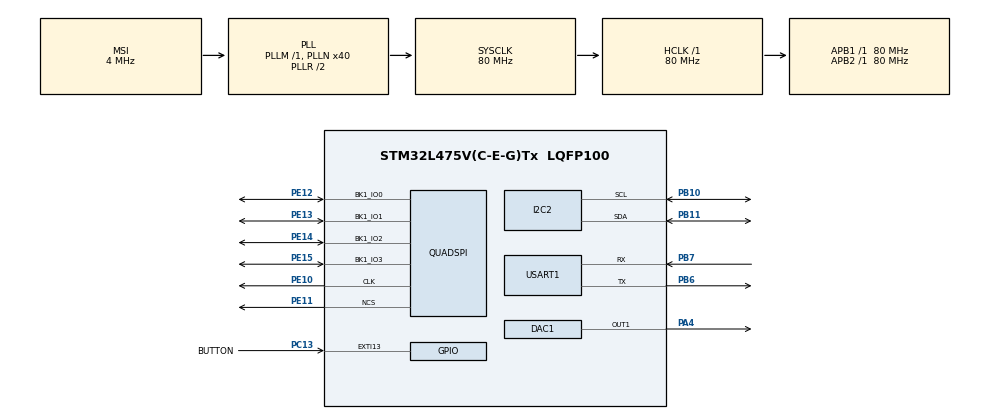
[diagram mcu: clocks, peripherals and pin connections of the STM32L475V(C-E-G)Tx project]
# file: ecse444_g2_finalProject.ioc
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DAC1.DAC_Trigger-DAC_OUT1=DAC_TRIGGER_T2_TRGO
Dma.DAC_CH1.0.Direction=DMA_MEMORY_TO_PERIPH
Dma.DAC_CH1.0.Instance=DMA1_Channel3
Dma.DAC_CH1.0.MemDataAlignment=DMA_MDATAALIGN_BYTE
Dma.DAC_CH1.0.MemInc=DMA_MINC_ENABLE
Dma.DAC_CH1.0.Mode=DMA_NORMAL
Dma.DAC_CH1.0.PeriphDataAlignment=DMA_PDATAALIGN_HALFWORD
Dma.DAC_CH1.0.PeriphInc=DMA_PINC_DISABLE
Dma.DAC_CH1.0.Priority=DMA_PRIORITY_LOW
Dma.Request0=DAC_CH1
I2C2.Timing=0x10909CEC
Mcu.Family=STM32L4
Mcu.Name=STM32L475V(C-E-G)Tx
Mcu.Package=LQFP100
NVIC.DMA1_Channel3_IRQn=true\:0\:0\:false\:false\:true\:false\:true
NVIC.EXTI15_10_IRQn=true\:0\:0\:false\:false\:true\:true\:true
NVIC.PriorityGroup=NVIC_PRIORITYGROUP_4
NVIC.TIM2_IRQn=true\:0\:0\:false\:false\:true\:true\:true
NVIC.TIM3_IRQn=true\:0\:0\:false\:false\:true\:true\:true
NVIC.TIM6_DAC_IRQn=true\:0\:0\:false\:false\:true\:false\:true
NVIC.TimeBase=TIM6_DAC_IRQn
NVIC.TimeBaseIP=TIM6
PA13\ (JTMS-SWDIO).Signal=SYS_JTMS-SWDIO
PA4.Signal=COMP_DAC11_group
PB10.Mode=I2C
PB10.Signal=I2C2_SCL
PB11.Mode=I2C
PB11.Signal=I2C2_SDA
PB3\ (JTDO-TRACESWO).Signal=SYS_JTDO-SWO
PB6.Mode=Asynchronous
PB6.Signal=USART1_TX
PB7.Mode=Asynchronous
PB7.Signal=USART1_RX
PC13.GPIO_Label=BUTTON
PC13.Signal=GPXTI13
PE10.Mode=Single Bank
PE10.Signal=QUADSPI_CLK
PE11.Mode=Single Bank
PE11.Signal=QUADSPI_NCS
PE12.Mode=Single Bank
PE12.Signal=QUADSPI_BK1_IO0
PE13.Mode=Single Bank
PE13.Signal=QUADSPI_BK1_IO1
PE14.Mode=Single Bank
PE14.Signal=QUADSPI_BK1_IO2
PE15.Mode=Single Bank
PE15.Signal=QUADSPI_BK1_IO3
ProjectManager.HeapSize=0x200
ProjectManager.StackSize=0x400
ProjectManager.TargetToolchain=STM32CubeIDE
RCC.ADCFreq_Value=48000000
RCC.AHBFreq_Value=80000000
RCC.APB1Freq_Value=80000000
RCC.APB1TimFreq_Value=80000000
RCC.APB2Freq_Value=80000000
RCC.APB2TimFreq_Value=80000000
RCC.CortexFreq_Value=80000000
RCC.HCLKFreq_Value=80000000
RCC.HSE_VALUE=8000000
RCC.HSI_VALUE=16000000
RCC.LSE_VALUE=32768
RCC.MSI_VALUE=4000000
RCC.PLLN=40
RCC.PLLSAI1N=24
RCC.SYSCLKFreq_VALUE=80000000
RCC.SYSCLKSource=RCC_SYSCLKSOURCE_PLLCLK
RCC.USBFreq_Value=48000000
RCC.VCOOutputFreq_Value=160000000
SH.COMP_DAC11_group.0=DAC1_OUT1,DAC_OUT1
TIM2.Period=4000
TIM2.TIM_MasterOutputTrigger=TIM_TRGO_UPDATE
TIM3.Period=200
TIM3.Prescaler=4000
TIM3.TIM_MasterOutputTrigger=TIM_TRGO_RESET
USART1.VirtualMode-Asynchronous=VM_ASYNC
VP_SYS_VS_tim6.Mode=TIM6
VP_TIM2_VS_ClockSourceINT.Mode=Internal
VP_TIM3_VS_ClockSourceINT.Mode=Internal
board=B-L475E-IOT01A1

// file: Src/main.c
/* USER CODE BEGIN Header */
/**
  ******************************************************************************
  * @file           : main.c
  * @brief          : Main program body
  ******************************************************************************
  * @attention
  *
  * <h2><center>&copy; Copyright (c) 2020 STMicroelectronics.
  * All rights reserved.</center></h2>
  *
  * This software component is licensed by ST under Ultimate Liberty license
  * SLA0044, the "License"; You may not use this file except in compliance with
  * the License. You may obtain a copy of the License at:
  *                             www.st.com/SLA0044
  *
  ******************************************************************************
  */
/* USER CODE END Header */
#include "main.h"

/* USER CODE BEGIN Includes */
#include <stdio.h>
#include <stdlib.h>
#include "stm32l475e_iot01_gyro.h"
#include "stm32l475e_iot01_qspi.h"
#include "arm_math.h"
/* USER CODE END Includes */

/* USER CODE BEGIN PTD */
// Typedef a position object to keep track of the obstacle more easily
struct {
	float x;
	float y;
} typedef Pos;
/* USER CODE END PTD */

/* USER CODE BEGIN PD */
#define DISPLAY_LENGTH_X 			60
#define DISPLAY_LENGTH_Y 			20

// Scale the gyro sensor angle to movement of the player
#define GYRO_TO_DISP_FACTOR 	0.01

// Player is always at the same Y position
#define PLAYER_Y							(DISPLAY_LENGTH_Y - 1)

// Player cannot go into the last column
#define PLAYER_MAX_X					DISPLAY_LENGTH_X - 2

// ASCII symbol for the player
#define PLAYER_CHAR						'^'

// The position of the obstacle is determined by an index in the 2D
// display array. Each object has a width associated to them. This
// parameter specifies how many extra indexes the object takes up
// on either side of its center. In our case, the obstacle is 11
// characters wide.
#define OBSTACLE_EXTRA_WIDTH	5

// How many indexes the obstacle will move each game loop. Could
// become a variable if we want to increase the difficulty?
#define OBSTACLE_SPEED_LOW		0.5
#define OBSTACLE_SPEED_HIGH		1.0
//#define OBSTACLE_SPEED					0.5

// ASCII symbol for the obstacle
#define OBSTACLE_CHAR					'='

// 20 kHz sampling rate
#define SAMP_FREQ							20000

// Size of tone buffer
#define TONE_BUF_LEN					(uint32_t)10000

// Different tones used for the sound effects
#define G_SIX_FREQ						1567.98
#define A_FLAT_SIX_FREQ				1661.22
#define A_SIX_FREQ						1760.00
#define B_FLAT_SIX_FREQ				1864.66
#define B_SIX_FREQ						1975.53

// Length of the "game over" sound effect
#define GAME_OVER_LEN					8

// Length of the "obstacle avoided" sound effect
#define SUCCESS_LEN						2

// Parameters for sensor processing
#define LEAKY_LAMBDA					0.95
#define LEAKY_LAMBDA_COMP			0.05
#define CALIBRATION_CYCLES		200

// Approximate period of the game loop (in seconds)
#define GAME_LOOP_PERIOD			0.1

// ITM Port define
#define ITM_Port32(n)					(*((volatile unsigned long *) (0xE0000000+4*n)))
/* USER CODE END PD */

DAC_HandleTypeDef hdac1;
DMA_HandleTypeDef hdma_dac_ch1;

I2C_HandleTypeDef hi2c2;

QSPI_HandleTypeDef hqspi;

TIM_HandleTypeDef htim2;
TIM_HandleTypeDef htim3;

UART_HandleTypeDef huart1;

/* USER CODE BEGIN PV */
// The representation of the playing field for our game
// NOTE: the coordinates are [y][x], not [x][y]!
uint8_t display[DISPLAY_LENGTH_Y][DISPLAY_LENGTH_X];

// Sensor processing variables
float gyroData[3];
uint8_t leakyGyroFlag = 0;
float leakyGyro = 0.0;
float angularDisplacement = 0;
uint8_t calibrationCount = 0;
float calibrationAvg = 0.0;

// The obstacle and its speed
Pos *obstacle;
float obstacleSpeed = OBSTACLE_SPEED_LOW;

// X position of the player
// playerY is constant, so it's defined as a macro
float playerX = DISPLAY_LENGTH_X >> 1;

// Variables for the "game over" sound effect
uint8_t gameOverTone = 0;
uint8_t gameOverTones[GAME_OVER_LEN] = {2,4,2,1,3,1,0,0};

// Variables for the "obstacle avoided" sound effect
uint8_t successTone;
uint8_t successTones[SUCCESS_LEN] = {0,4};
uint8_t isSuccess;
/* USER CODE END PV */

void SystemClock_Config(void);
static void MX_GPIO_Init(void);
static void MX_DMA_Init(void);
static void MX_DAC1_Init(void);
static void MX_TIM2_Init(void);
static void MX_USART1_UART_Init(void);
static void MX_I2C2_Init(void);
static void MX_TIM3_Init(void);
static void MX_QUADSPI_Init(void);
/* USER CODE BEGIN PFP */
void createTone(uint8_t *arr, float32_t freq);
void gameOver();
uint8_t collision(Pos *obstacle, int8_t newX, int8_t extraWidth);
void setObstacle(Pos *o, uint8_t newChar, int8_t extraWidth);
void clearedObstacle();
/* USER CODE END PFP */

/* USER CODE BEGIN 0 */
int numOfSamples = 10000;
uint8_t sineArray[10000];
int sineWaveNumber = 0;
int nextFreq = 1; // trigger to go to next frequency
/* USER CODE END 0 */

int main(void)
{

  /* MCU Configuration--------------------------------------------------------*/

  /* Reset of all peripherals, Initializes the Flash interface and the Systick. */
  HAL_Init();

  /* Configure the system clock */
  SystemClock_Config();

  /* Initialize all configured peripherals */
  MX_GPIO_Init();
  MX_DMA_Init();
  MX_DAC1_Init();
  MX_TIM2_Init();
  MX_USART1_UART_Init();
  MX_I2C2_Init();
  MX_TIM3_Init();
  MX_QUADSPI_Init();
  /* USER CODE BEGIN 2 */
  // Initialize gyro sensor
  BSP_GYRO_Init();
  BSP_GYRO_GetXYZ(gyroData);

  // Initialize QSPI
	if (BSP_QSPI_Init()){
		Error_Handler();
	}

  // Clear serial monitor and initialize display array
  HAL_UART_Transmit(&huart1, (uint8_t *)"\033[f", 3, 100);
  HAL_UART_Transmit(&huart1, (uint8_t *)"\033[2J", 4, 100);
  uint8_t i;
  uint8_t j;
  for(i = 0; i < DISPLAY_LENGTH_Y; i++){
		for(j = 0; j < DISPLAY_LENGTH_X; j++){
			if (j == DISPLAY_LENGTH_X - 1)
				display[i][j] = '\n';
			else
				display[i][j] = ' ';
		}
	}

  // Initialize the obstacle to be out of bounds
  obstacle = (Pos *) malloc(sizeof(Pos));
  obstacle->x = -1.0;
  obstacle->y = -1.0;

	// Erase 5 blocks for sounds
	for (int i = 0; i < 2; i++)
		if (BSP_QSPI_Erase_Block(i) != QSPI_OK)
			Error_Handler();

	// Store all the tones in Flash
	uint32_t currAddr = 0;

	createTone(sineArray, G_SIX_FREQ);
	if (BSP_QSPI_Write(sineArray, currAddr, TONE_BUF_LEN) != QSPI_OK)
		Error_Handler();
	currAddr += TONE_BUF_LEN;

	createTone(sineArray, A_FLAT_SIX_FREQ);
	if (BSP_QSPI_Write(sineArray, currAddr, TONE_BUF_LEN) != QSPI_OK)
			Error_Handler();
	currAddr += TONE_BUF_LEN;

	createTone(sineArray, A_SIX_FREQ);
	if (BSP_QSPI_Write(sineArray, currAddr, TONE_BUF_LEN) != QSPI_OK)
			Error_Handler();
	currAddr += TONE_BUF_LEN;

	createTone(sineArray, B_FLAT_SIX_FREQ);
	if (BSP_QSPI_Write(sineArray, currAddr, TONE_BUF_LEN) != QSPI_OK)
			Error_Handler();
	currAddr += TONE_BUF_LEN;

	createTone(sineArray, B_SIX_FREQ);
	if (BSP_QSPI_Write(sineArray, currAddr, TONE_BUF_LEN) != QSPI_OK)
			Error_Handler();

  // Start timers
  HAL_TIM_Base_Start_IT(&htim3);
  HAL_TIM_Base_Start_IT(&htim2);
  /* USER CODE END 2 */

  /* Infinite loop */
  while (1)
  {

    /* USER CODE BEGIN 3 */
  	//*******************
  	//* GAME LOOP (~10 ms)
  	//*******************

  	// Only start the game once the system is done calibrating
  	if (calibrationCount >= CALIBRATION_CYCLES){
  		// Check for a button press to change the difficulty
  		if (!HAL_GPIO_ReadPin(BUTTON_GPIO_Port, BUTTON_Pin)){
				if (obstacleSpeed == OBSTACLE_SPEED_LOW)
					obstacleSpeed = OBSTACLE_SPEED_HIGH;
				else
					obstacleSpeed = OBSTACLE_SPEED_LOW;
			}

			// Erase current player position
			display[PLAYER_Y][(uint8_t)playerX] = ' ';

			// Calculate the new player position
			playerX += (angularDisplacement * GYRO_TO_DISP_FACTOR);
			if (playerX < 0)
				playerX = 0;
			if (playerX > PLAYER_MAX_X + 0.9)
				playerX = PLAYER_MAX_X;

			// If the obstacle is out of bounds, create a new one at the top of the screen
			if (obstacle->x < 0) {
				obstacle->x = rand() % (PLAYER_MAX_X - OBSTACLE_EXTRA_WIDTH);
				if (obstacle->x < OBSTACLE_EXTRA_WIDTH)
					obstacle->x = OBSTACLE_EXTRA_WIDTH;
				obstacle->y = 0;
			}
			else {
				// Otherwise, erase the old obstacle position and calculate the new position
				setObstacle(obstacle, (uint8_t)' ', OBSTACLE_EXTRA_WIDTH);
				obstacle->y += obstacleSpeed;

				// Check if obstacle has left the playing field
				if (obstacle->y > DISPLAY_LENGTH_Y - 0.1){
					obstacle->x = -1.0;
					obstacle->y = -1.0;
					isSuccess = 1;
					// Play a sound effect
					clearedObstacle();
				}
				// Check for collision
				else if (collision(obstacle, (int8_t)playerX, OBSTACLE_EXTRA_WIDTH)){
					isSuccess = 0;
					// Game over screen and music
					gameOver();
				}
			}

			// Update the player location
			display[PLAYER_Y][(uint8_t)playerX] = PLAYER_CHAR;

			// Update the obstacle location
			if (obstacle->x > -0.5)
				setObstacle(obstacle, OBSTACLE_CHAR, OBSTACLE_EXTRA_WIDTH);

			// Set the cursor of the serial monitor to the top left corner
			HAL_UART_Transmit(&huart1, (uint8_t *)"\033[f", 3, 100);

			// Draw the new frame of the game
			for (uint8_t i = 0; i < DISPLAY_LENGTH_Y; i++){
				HAL_UART_Transmit(&huart1, display[i], DISPLAY_LENGTH_X, 100);
			}
  	}
  }
  /* USER CODE END 3 */
}

void SystemClock_Config(void)
{
  RCC_OscInitTypeDef RCC_OscInitStruct = {0};
  RCC_ClkInitTypeDef RCC_ClkInitStruct = {0};
  RCC_PeriphCLKInitTypeDef PeriphClkInit = {0};

  /** Initializes the RCC Oscillators according to the specified parameters
  * in the RCC_OscInitTypeDef structure.
  */
  RCC_OscInitStruct.OscillatorType = RCC_OSCILLATORTYPE_MSI;
  RCC_OscInitStruct.MSIState = RCC_MSI_ON;
  RCC_OscInitStruct.MSICalibrationValue = 0;
  RCC_OscInitStruct.MSIClockRange = RCC_MSIRANGE_6;
  RCC_OscInitStruct.PLL.PLLState = RCC_PLL_ON;
  RCC_OscInitStruct.PLL.PLLSource = RCC_PLLSOURCE_MSI;
  RCC_OscInitStruct.PLL.PLLM = 1;
  RCC_OscInitStruct.PLL.PLLN = 40;
  RCC_OscInitStruct.PLL.PLLP = RCC_PLLP_DIV7;
  RCC_OscInitStruct.PLL.PLLQ = RCC_PLLQ_DIV2;
  RCC_OscInitStruct.PLL.PLLR = RCC_PLLR_DIV2;
  if (HAL_RCC_OscConfig(&RCC_OscInitStruct) != HAL_OK)
  {
    Error_Handler();
  }
  /** Initializes the CPU, AHB and APB buses clocks
  */
  RCC_ClkInitStruct.ClockType = RCC_CLOCKTYPE_HCLK|RCC_CLOCKTYPE_SYSCLK
                              |RCC_CLOCKTYPE_PCLK1|RCC_CLOCKTYPE_PCLK2;
  RCC_ClkInitStruct.SYSCLKSource = RCC_SYSCLKSOURCE_PLLCLK;
  RCC_ClkInitStruct.AHBCLKDivider = RCC_SYSCLK_DIV1;
  RCC_ClkInitStruct.APB1CLKDivider = RCC_HCLK_DIV1;
  RCC_ClkInitStruct.APB2CLKDivider = RCC_HCLK_DIV1;

  if (HAL_RCC_ClockConfig(&RCC_ClkInitStruct, FLASH_LATENCY_4) != HAL_OK)
  {
    Error_Handler();
  }
  PeriphClkInit.PeriphClockSelection = RCC_PERIPHCLK_USART1|RCC_PERIPHCLK_I2C2;
  PeriphClkInit.Usart1ClockSelection = RCC_USART1CLKSOURCE_PCLK2;
  PeriphClkInit.I2c2ClockSelection = RCC_I2C2CLKSOURCE_PCLK1;
  if (HAL_RCCEx_PeriphCLKConfig(&PeriphClkInit) != HAL_OK)
  {
    Error_Handler();
  }
  /** Configure the main internal regulator output voltage
  */
  if (HAL_PWREx_ControlVoltageScaling(PWR_REGULATOR_VOLTAGE_SCALE1) != HAL_OK)
  {
    Error_Handler();
  }
}

static void MX_DAC1_Init(void)
{

  DAC_ChannelConfTypeDef sConfig = {0};

  /** DAC Initialization
  */
  hdac1.Instance = DAC1;
  if (HAL_DAC_Init(&hdac1) != HAL_OK)
  {
    Error_Handler();
  }
  /** DAC channel OUT1 config
  */
  sConfig.DAC_SampleAndHold = DAC_SAMPLEANDHOLD_DISABLE;
  sConfig.DAC_Trigger = DAC_TRIGGER_T2_TRGO;
  sConfig.DAC_OutputBuffer = DAC_OUTPUTBUFFER_ENABLE;
  sConfig.DAC_ConnectOnChipPeripheral = DAC_CHIPCONNECT_DISABLE;
  sConfig.DAC_UserTrimming = DAC_TRIMMING_FACTORY;
  if (HAL_DAC_ConfigChannel(&hdac1, &sConfig, DAC_CHANNEL_1) != HAL_OK)
  {
    Error_Handler();
  }

}

static void MX_I2C2_Init(void)
{

  hi2c2.Instance = I2C2;
  hi2c2.Init.Timing = 0x10909CEC;
  hi2c2.Init.OwnAddress1 = 0;
  hi2c2.Init.AddressingMode = I2C_ADDRESSINGMODE_7BIT;
  hi2c2.Init.DualAddressMode = I2C_DUALADDRESS_DISABLE;
  hi2c2.Init.OwnAddress2 = 0;
  hi2c2.Init.OwnAddress2Masks = I2C_OA2_NOMASK;
  hi2c2.Init.GeneralCallMode = I2C_GENERALCALL_DISABLE;
  hi2c2.Init.NoStretchMode = I2C_NOSTRETCH_DISABLE;
  if (HAL_I2C_Init(&hi2c2) != HAL_OK)
  {
    Error_Handler();
  }
  /** Configure Analogue filter
  */
  if (HAL_I2CEx_ConfigAnalogFilter(&hi2c2, I2C_ANALOGFILTER_ENABLE) != HAL_OK)
  {
    Error_Handler();
  }
  /** Configure Digital filter
  */
  if (HAL_I2CEx_ConfigDigitalFilter(&hi2c2, 0) != HAL_OK)
  {
    Error_Handler();
  }

}

static void MX_QUADSPI_Init(void)
{

  /* QUADSPI parameter configuration*/
  hqspi.Instance = QUADSPI;
  hqspi.Init.ClockPrescaler = 255;
  hqspi.Init.FifoThreshold = 1;
  hqspi.Init.SampleShifting = QSPI_SAMPLE_SHIFTING_NONE;
  hqspi.Init.FlashSize = 1;
  hqspi.Init.ChipSelectHighTime = QSPI_CS_HIGH_TIME_1_CYCLE;
  hqspi.Init.ClockMode = QSPI_CLOCK_MODE_0;
  if (HAL_QSPI_Init(&hqspi) != HAL_OK)
  {
    Error_Handler();
  }

}

static void MX_TIM2_Init(void)
{

  TIM_ClockConfigTypeDef sClockSourceConfig = {0};
  TIM_MasterConfigTypeDef sMasterConfig = {0};

  htim2.Instance = TIM2;
  htim2.Init.Prescaler = 0;
  htim2.Init.CounterMode = TIM_COUNTERMODE_UP;
  htim2.Init.Period = 4000;
  htim2.Init.ClockDivision = TIM_CLOCKDIVISION_DIV1;
  htim2.Init.AutoReloadPreload = TIM_AUTORELOAD_PRELOAD_DISABLE;
  if (HAL_TIM_Base_Init(&htim2) != HAL_OK)
  {
    Error_Handler();
  }
  sClockSourceConfig.ClockSource = TIM_CLOCKSOURCE_INTERNAL;
  if (HAL_TIM_ConfigClockSource(&htim2, &sClockSourceConfig) != HAL_OK)
  {
    Error_Handler();
  }
  sMasterConfig.MasterOutputTrigger = TIM_TRGO_UPDATE;
  sMasterConfig.MasterSlaveMode = TIM_MASTERSLAVEMODE_DISABLE;
  if (HAL_TIMEx_MasterConfigSynchronization(&htim2, &sMasterConfig) != HAL_OK)
  {
    Error_Handler();
  }

}

static void MX_TIM3_Init(void)
{

  TIM_ClockConfigTypeDef sClockSourceConfig = {0};
  TIM_MasterConfigTypeDef sMasterConfig = {0};

  htim3.Instance = TIM3;
  htim3.Init.Prescaler = 4000;
  htim3.Init.CounterMode = TIM_COUNTERMODE_UP;
  htim3.Init.Period = 200;
  htim3.Init.ClockDivision = TIM_CLOCKDIVISION_DIV1;
  htim3.Init.AutoReloadPreload = TIM_AUTORELOAD_PRELOAD_DISABLE;
  if (HAL_TIM_Base_Init(&htim3) != HAL_OK)
  {
    Error_Handler();
  }
  sClockSourceConfig.ClockSource = TIM_CLOCKSOURCE_INTERNAL;
  if (HAL_TIM_ConfigClockSource(&htim3, &sClockSourceConfig) != HAL_OK)
  {
    Error_Handler();
  }
  sMasterConfig.MasterOutputTrigger = TIM_TRGO_RESET;
  sMasterConfig.MasterSlaveMode = TIM_MASTERSLAVEMODE_DISABLE;
  if (HAL_TIMEx_MasterConfigSynchronization(&htim3, &sMasterConfig) != HAL_OK)
  {
    Error_Handler();
  }

}

static void MX_USART1_UART_Init(void)
{

  huart1.Instance = USART1;
  huart1.Init.BaudRate = 115200;
  huart1.Init.WordLength = UART_WORDLENGTH_8B;
  huart1.Init.StopBits = UART_STOPBITS_1;
  huart1.Init.Parity = UART_PARITY_NONE;
  huart1.Init.Mode = UART_MODE_TX_RX;
  huart1.Init.HwFlowCtl = UART_HWCONTROL_NONE;
  huart1.Init.OverSampling = UART_OVERSAMPLING_16;
  huart1.Init.OneBitSampling = UART_ONE_BIT_SAMPLE_DISABLE;
  huart1.AdvancedInit.AdvFeatureInit = UART_ADVFEATURE_NO_INIT;
  if (HAL_UART_Init(&huart1) != HAL_OK)
  {
    Error_Handler();
  }

}

static void MX_DMA_Init(void)
{

  /* DMA controller clock enable */
  __HAL_RCC_DMA1_CLK_ENABLE();

  /* DMA interrupt init */
  /* DMA1_Channel3_IRQn interrupt configuration */
  HAL_NVIC_SetPriority(DMA1_Channel3_IRQn, 0, 0);
  HAL_NVIC_EnableIRQ(DMA1_Channel3_IRQn);

}

static void MX_GPIO_Init(void)
{
  GPIO_InitTypeDef GPIO_InitStruct = {0};

  /* GPIO Ports Clock Enable */
  __HAL_RCC_GPIOC_CLK_ENABLE();
  __HAL_RCC_GPIOA_CLK_ENABLE();
  __HAL_RCC_GPIOE_CLK_ENABLE();
  __HAL_RCC_GPIOB_CLK_ENABLE();

  /*Configure GPIO pin : BUTTON_Pin */
  GPIO_InitStruct.Pin = BUTTON_Pin;
  GPIO_InitStruct.Mode = GPIO_MODE_IT_RISING;
  GPIO_InitStruct.Pull = GPIO_NOPULL;
  HAL_GPIO_Init(BUTTON_GPIO_Port, &GPIO_InitStruct);

  /* EXTI interrupt init*/
  HAL_NVIC_SetPriority(EXTI15_10_IRQn, 0, 0);
  HAL_NVIC_EnableIRQ(EXTI15_10_IRQn);

}

/* USER CODE BEGIN 4 */
/**
  * @brief Fill an array of size TONE_BUF_LEN with a given frequency
  * @param arr	The array that will hold the generated frequency
  * @param freq	The frequency to be generated
  * @retval None
  */
void createTone(uint8_t *arr, float32_t freq)
{
	float32_t smplsPerT, fValue, sinIndex;

	smplsPerT = SAMP_FREQ / freq;

	for (int i = 0; i < TONE_BUF_LEN; i++){
		sinIndex = (i / smplsPerT) * 2 * M_PI;
		fValue = arm_sin_f32(sinIndex);
		arr[i] = (uint8_t)((fValue * 85) + 85);
	}
}

/**
  * @brief Initiate the "obstacle avoided" sound effect
  * @param None
  * @retval None
  */
void clearedObstacle() {
	if (BSP_QSPI_Read(sineArray, 0, TONE_BUF_LEN) != QSPI_OK)
		Error_Handler();
	HAL_DAC_Start_DMA(&hdac1, DAC_CHANNEL_1, (uint32_t*)sineArray, TONE_BUF_LEN >> 2, DAC_ALIGN_8B_R);
	successTone = 1;
}

/**
  * @brief Display the "game over" screen and play the corresponding sound effect
  * @param None
  * @retval None
  */
void gameOver()
{
	// Stop sensor processing
	HAL_TIM_Base_Stop_IT(&htim3);
	// Clear screen and set cursor to top-left corner of serial monitor
	HAL_UART_Transmit(&huart1, (uint8_t *)"\033[f", 3, 100);
	HAL_UART_Transmit(&huart1, (uint8_t *)"\033[2J", 4, 100);
	// Print game over message
	HAL_UART_Transmit(&huart1, (uint8_t *)"You lose :(", 11, 100);
	// Play game over sound effect
	if (BSP_QSPI_Read(sineArray, (uint32_t)(gameOverTones[gameOverTone]) * TONE_BUF_LEN, TONE_BUF_LEN) != QSPI_OK)
		Error_Handler();
	HAL_DAC_Start_DMA(&hdac1, DAC_CHANNEL_1, (uint32_t*)sineArray, TONE_BUF_LEN, DAC_ALIGN_8B_R);
	// Wait for player to restart
	while(1);
}

/**
  * @brief Calculate if a collision will occur between an obstacle and the player
  * @param obstacle		A pointer to the obstacle that may be colliding with the player
  * @param newX				The X coordinate of the player
  * @param extraWidth	floor(widthOfObstacle / 2)
  * @retval 1 if a collision occurs and 0 if no collision occurs
  */
uint8_t collision(Pos *obstacle, int8_t newX, int8_t extraWidth)
{
	int8_t i;

	// If object is not on the last row, no need to check X dimension
	if ((uint8_t)obstacle->y == PLAYER_Y) {
		// Check if character intercepts with width of obstacle
		for(i = -extraWidth; i <= extraWidth; i++) {
			if ((int8_t)obstacle->x + i == newX)
				return 1;
		}
	}
	return 0;
}

/**
  * @brief Calculate if a collision will occur between an obstacle and the player
  * @param obstacle		A pointer to the obstacle that will be displayed
  * @param newChar		The character to be used for the obstacle
  * @param extraWidth	floor(widthOfObstacle / 2)
  * @retval None
  */
void setObstacle(Pos *o, uint8_t newChar, int8_t extraWidth)
{
	int8_t i;
	for(i = -extraWidth; i <= extraWidth; i++)
		display[(uint8_t)o->y][(int8_t)o->x + i] = newChar;
}

void HAL_DAC_ConvCpltCallbackCh1(DAC_HandleTypeDef *hdac)
{
	if (hdac == &hdac1){
		// Check if callback is for the "obstacle avoided" sound effect
		if (isSuccess){
			HAL_DAC_Stop_DMA(hdac, DAC_CHANNEL_1);
			// If so, check if it has played all the way through
			if (successTone < SUCCESS_LEN){
				// If not, play the next tone
				if (BSP_QSPI_Read(sineArray, (uint32_t)(successTones[successTone]) * TONE_BUF_LEN, TONE_BUF_LEN) != QSPI_OK)
									Error_Handler();
				HAL_DAC_Start_DMA(&hdac1, DAC_CHANNEL_1, (uint32_t*)sineArray, TONE_BUF_LEN >> 2, DAC_ALIGN_8B_R);
				successTone++;
			}
			else {
				// If so, reset variables
				isSuccess = 0;
				successTone = 0;
			}
		}
		else{
			// Callback for "game over" sound effect
			gameOverTone++;
			// Check if sound effect is still going through sequence
			if (gameOverTone < GAME_OVER_LEN - 1){
				// If so, load next tone
				HAL_DAC_Stop_DMA(hdac, DAC_CHANNEL_1);
				if (BSP_QSPI_Read(sineArray, (uint32_t)(gameOverTones[gameOverTone]) * TONE_BUF_LEN, TONE_BUF_LEN) != QSPI_OK)
					Error_Handler();
				HAL_DAC_Start_DMA(&hdac1, DAC_CHANNEL_1, (uint32_t*)sineArray, TONE_BUF_LEN, DAC_ALIGN_8B_R);
			}
			// Check if the second last sound effect was just played
			else if (gameOverTone == GAME_OVER_LEN - 1){
				// If so, immediately play the same sound. This helps the audio sound cleaner
				HAL_DAC_Start_DMA(&hdac1, DAC_CHANNEL_1, (uint32_t*)sineArray, TONE_BUF_LEN, DAC_ALIGN_8B_R);
			}
			else {
				// Otherwise, stop the DAC and reset variables
				HAL_DAC_Stop_DMA(hdac, DAC_CHANNEL_1);
				gameOverTone = 0;
			}
		}
	}
}
/* USER CODE END 4 */

void HAL_TIM_PeriodElapsedCallback(TIM_HandleTypeDef *htim)
{
  /* USER CODE BEGIN Callback 0 */
	if (htim->Instance == TIM3) {
		//*********************
		//* SENSOR PROCESSING
		//*********************

		// Get current sensor data
		BSP_GYRO_GetXYZ(gyroData);

		// Calibration sequence
		if (calibrationCount < CALIBRATION_CYCLES){
			calibrationAvg += gyroData[1] / CALIBRATION_CYCLES;
			calibrationCount++;
		}
		else {
			// begin leaky integrator after calibration period
			if (!leakyGyroFlag) {
				leakyGyro = calibrationAvg;
				leakyGyroFlag = 1;
			} else {
				leakyGyro = (LEAKY_LAMBDA * leakyGyro) + (LEAKY_LAMBDA_COMP * gyroData[1]);
			}

			// update and clamp angular displacement
			// we don't want it to shoot off to arithmetic overflow
			angularDisplacement += (leakyGyro - calibrationAvg) * GAME_LOOP_PERIOD;
			if (angularDisplacement > 90.0) {
				angularDisplacement = 90.0;
			} else if (angularDisplacement < -90.0) {
				angularDisplacement = -90.0;
			}
		}
	}
  /* USER CODE END Callback 0 */
  if (htim->Instance == TIM6) {
    HAL_IncTick();
  }
}

void Error_Handler(void)
{
  /* USER CODE BEGIN Error_Handler_Debug */
  /* User can add his own implementation to report the HAL error return state */
	__BKPT();
  /* USER CODE END Error_Handler_Debug */
}

/************************ (C) COPYRIGHT STMicroelectronics *****END OF FILE****/
